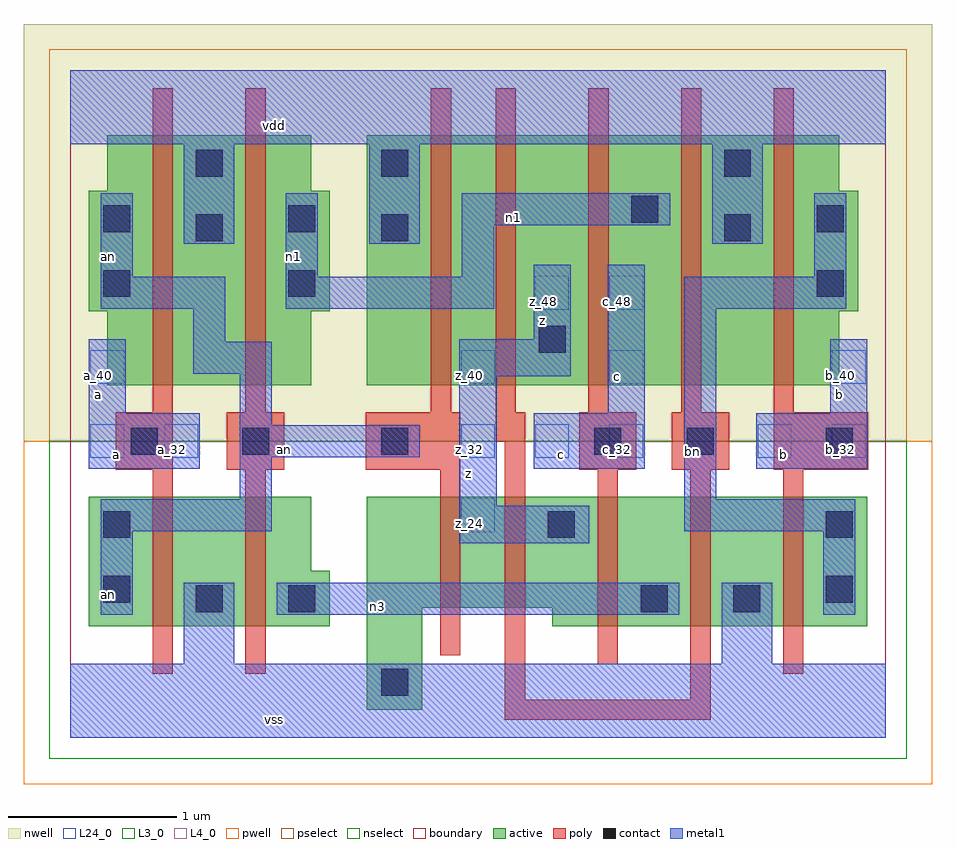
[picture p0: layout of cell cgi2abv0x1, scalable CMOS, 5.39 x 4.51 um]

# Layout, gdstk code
import gdstk
lib = gdstk.Library(unit=1e-6, precision=2.5e-09)
def R(c, l, rs):  # rectangles x0, y0, x1, y1
    for r in rs: c.add(gdstk.rectangle(r[:2], r[2:], *l))
def A(c, l, x, y, w, h, nx, ny, dx, dy):  # array of equal rectangles
    R(c, l, [(x+i*dx, y+j*dy, x+i*dx+w, y+j*dy+h) for i in range(nx) for j in range(ny)])
L3_0 = (3, 0)
L4_0 = (4, 0)
L24_0 = (24, 0)
contact = (25, 0)
pwell = (41, 0)
nwell = (42, 0)
active = (43, 0)
pselect = (44, 0)
nselect = (45, 0)
poly = (46, 0)
metal1 = (49, 0)
boundary = (63, 0)

cgi2abv0x1 = lib.new_cell('cgi2abv0x1')
R(cgi2abv0x1, L3_0, [(1.76,0.165,2.09,0.77), (0.11,0.66,1.54,0.99), (2.86,0.66,4.73,0.77), (1.76,0.77,4.73,1.43), (0.11,0.99,1.43,1.43)])
R(cgi2abv0x1, L4_0, [(0.22,2.09,1.43,2.53), (1.76,2.09,4.565,2.53), (0.11,2.53,1.54,3.245), (1.76,2.53,4.675,3.245), (0.22,3.245,1.43,3.575), (1.76,3.245,4.565,3.575)])
A(cgi2abv0x1, L24_0, 2.32, 1.66, 0.2, 0.2, 3, 1, 0.44, 0)
R(cgi2abv0x1, L24_0, [(2.32,1.22,2.52,1.42), (0.12,1.66,0.32,1.86), (0.56,1.66,0.76,1.86), (4.08,1.66,4.28,1.86), (4.52,1.66,4.72,1.86), (0.12,2.1,0.32,2.3), (2.32,2.1,2.52,2.3), (3.2,2.1,3.4,2.3), (4.52,2.1,4.72,2.3), (2.76,2.54,2.96,2.74), (3.2,2.54,3.4,2.74)])
R(cgi2abv0x1, contact, [(1.845,0.25,2.005,0.41), (0.745,0.745,0.905,0.905), (1.295,0.745,1.455,0.905), (3.385,0.745,3.545,0.905), (3.935,0.745,4.095,0.905), (0.195,0.8,0.355,0.96), (4.485,0.8,4.645,0.96), (0.195,1.185,0.355,1.345), (2.835,1.185,2.995,1.345), (4.485,1.185,4.645,1.345), (0.36,1.68,0.52,1.84), (1.02,1.68,1.18,1.84), (1.845,1.68,2.005,1.84), (3.11,1.68,3.27,1.84), (3.66,1.68,3.82,1.84), (4.485,1.68,4.645,1.84), (2.78,2.285,2.94,2.445), (0.195,2.615,0.355,2.775), (1.295,2.615,1.455,2.775), (4.43,2.615,4.59,2.775), (0.745,2.945,0.905,3.105), (1.845,2.945,2.005,3.105), (3.88,2.945,4.04,3.105), (0.195,3,0.355,3.16), (1.295,3,1.455,3.16), (4.43,3,4.59,3.16), (3.33,3.055,3.49,3.215), (0.745,3.33,0.905,3.49), (1.845,3.33,2.005,3.49), (3.88,3.33,4.04,3.49)])
R(cgi2abv0x1, pwell, [(-0.275,-0.275,5.115,1.76)])
R(cgi2abv0x1, nwell, [(-0.275,1.76,5.115,4.235)])
R(cgi2abv0x1, active, [(1.76,0.165,2.09,0.77), (0.11,0.66,1.54,0.99), (2.86,0.66,4.73,0.77), (1.76,0.77,4.73,1.43), (0.11,0.99,1.43,1.43), (0.22,2.09,1.43,2.53), (1.76,2.09,4.565,2.53), (0.11,2.53,1.54,3.245), (1.76,2.53,4.675,3.245), (0.22,3.245,1.43,3.575), (1.76,3.245,4.565,3.575)])
R(cgi2abv0x1, pselect, [(-0.125,1.76,4.965,4.085)])
R(cgi2abv0x1, nselect, [(-0.125,-0.125,4.965,1.76)])
A(cgi2abv0x1, poly, 2.525, 1.93, 0.12, 1.925, 4, 1, 0.55, 0)
R(cgi2abv0x1, poly, [(2.58,0.105,3.8,0.225), (2.58,0.225,2.7,1.755), (3.68,0.225,3.8,1.59), (0.49,0.38,0.61,1.59), (1.04,0.38,1.16,1.59), (4.23,0.38,4.35,1.59), (3.13,0.435,3.25,1.59), (2.195,0.49,2.315,1.59), (0.27,1.59,0.61,1.93), (0.93,1.59,1.27,1.93), (1.755,1.59,2.315,1.93), (3.02,1.59,3.36,1.93), (3.57,1.59,3.91,1.93), (4.175,1.59,4.735,1.93), (2.525,1.755,2.7,1.93), (0.49,1.93,0.61,3.855), (1.04,1.93,1.16,3.855), (2.14,1.93,2.26,3.855)])
R(cgi2abv0x1, metal1, [(0,0,4.84,0.44), (0.675,0.44,0.975,0.92), (3.865,0.44,4.165,0.92), (0.18,0.73,0.37,1.225), (1.225,0.73,3.615,0.92), (4.47,0.73,4.66,1.225), (2.31,1.155,3.08,1.375), (0.18,1.225,1.195,1.415), (3.645,1.225,4.66,1.415), (2.31,1.375,2.53,2.145), (1.005,1.415,1.195,1.665), (3.645,1.415,3.835,2.545), (0.11,1.595,0.77,1.925), (2.75,1.595,3.41,1.925), (4.07,1.595,4.73,1.925), (1.005,1.665,2.075,1.855), (1.005,1.855,1.195,2.16), (0.11,1.925,0.33,2.365), (3.19,1.925,3.41,2.805), (4.51,1.925,4.73,2.365), (2.31,2.145,2.97,2.365), (0.73,2.16,1.195,2.35), (0.73,2.35,0.92,2.545), (2.75,2.365,2.97,2.805), (0.18,2.545,0.92,2.735), (1.28,2.545,2.515,2.735), (3.645,2.545,4.605,2.735), (0.18,2.735,0.37,3.23), (1.28,2.735,1.47,3.23), (2.325,2.735,2.515,3.04), (4.415,2.735,4.605,3.23), (0.675,2.93,0.975,3.52), (1.775,2.93,2.075,3.52), (3.81,2.93,4.11,3.52), (2.325,3.04,3.56,3.23), (0,3.52,4.84,3.96)])
R(cgi2abv0x1, boundary, [(0,0,4.84,3.96)])
cgi2abv0x1.add(gdstk.Label('vss', (1.21,0.11), layer=49, texttype=0))
cgi2abv0x1.add(gdstk.Label('n3', (1.8225,0.7775), layer=49, texttype=0))
cgi2abv0x1.add(gdstk.Label('an', (0.2275,0.8525), layer=49, texttype=0))
cgi2abv0x1.add(gdstk.Label('b', (4.235,1.6775), layer=49, texttype=0))
cgi2abv0x1.add(gdstk.Label('b', (4.565,2.035), layer=49, texttype=0))
cgi2abv0x1.add(gdstk.Label('bn', (3.6925,1.6975), layer=49, texttype=0))
cgi2abv0x1.add(gdstk.Label('c', (2.915,1.6775), layer=49, texttype=0))
cgi2abv0x1.add(gdstk.Label('c', (3.245,2.145), layer=49, texttype=0))
cgi2abv0x1.add(gdstk.Label('z', (2.365,1.5675), layer=49, texttype=0))
cgi2abv0x1.add(gdstk.Label('an', (1.2725,1.7125), layer=49, texttype=0))
cgi2abv0x1.add(gdstk.Label('a', (0.275,1.6775), layer=49, texttype=0))
cgi2abv0x1.add(gdstk.Label('z', (2.805,2.475), layer=49, texttype=0))
cgi2abv0x1.add(gdstk.Label('a', (0.165,2.035), layer=49, texttype=0))
cgi2abv0x1.add(gdstk.Label('n1', (2.6325,3.0875), layer=49, texttype=0))
cgi2abv0x1.add(gdstk.Label('n1', (1.3275,2.8575), layer=49, texttype=0))
cgi2abv0x1.add(gdstk.Label('an', (0.2275,2.8575), layer=49, texttype=0))
cgi2abv0x1.add(gdstk.Label('vdd', (1.21,3.63), layer=49, texttype=0))
cgi2abv0x1.add(gdstk.Label('a_32', (0.61,1.71), layer=24, texttype=0))
cgi2abv0x1.add(gdstk.Label('a_32', (0.17,1.71), layer=24, texttype=0))
cgi2abv0x1.add(gdstk.Label('a_40', (0.17,2.15), layer=24, texttype=0))
cgi2abv0x1.add(gdstk.Label('z_24', (2.37,1.27), layer=24, texttype=0))
cgi2abv0x1.add(gdstk.Label('z_32', (2.37,1.71), layer=24, texttype=0))
cgi2abv0x1.add(gdstk.Label('z_40', (2.37,2.15), layer=24, texttype=0))
cgi2abv0x1.add(gdstk.Label('c_32', (2.81,1.71), layer=24, texttype=0))
cgi2abv0x1.add(gdstk.Label('z_48', (2.81,2.59), layer=24, texttype=0))
cgi2abv0x1.add(gdstk.Label('c_32', (3.25,1.71), layer=24, texttype=0))
cgi2abv0x1.add(gdstk.Label('c_40', (3.25,2.15), layer=24, texttype=0))
cgi2abv0x1.add(gdstk.Label('c_48', (3.25,2.59), layer=24, texttype=0))
cgi2abv0x1.add(gdstk.Label('b_32', (4.13,1.71), layer=24, texttype=0))
cgi2abv0x1.add(gdstk.Label('b_32', (4.57,1.71), layer=24, texttype=0))
cgi2abv0x1.add(gdstk.Label('b_40', (4.57,2.15), layer=24, texttype=0))

lib.write_gds('cgi2abv0x1.gds')
